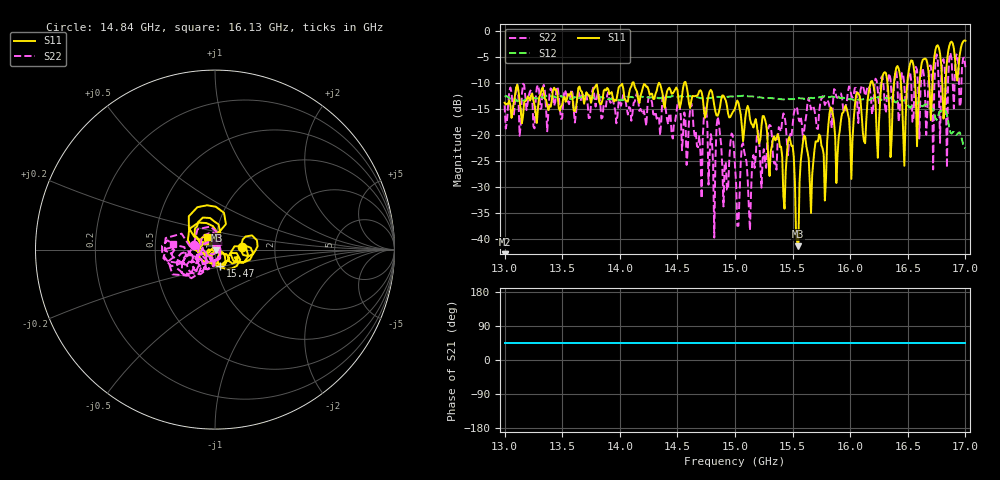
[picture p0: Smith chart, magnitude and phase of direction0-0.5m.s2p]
!Keysight Technologies,P9374A,MY57211810,A.19.30.04
!Date: Friday, May 02, 2025 09:38:07
!Correction: S11(Off)
!S21(Off)
!S12(Off)
!S22(Off)
!S2P File: Measurements: S11, S21, S12, S22:
# Hz S  dB  R 50
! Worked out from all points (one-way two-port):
!   401 points, 13 GHz to 17 GHz, reference 50 ohm
!   highest |S21| = - dB at 13 GHz (marker M1); lowest = - dB at 13 GHz (marker M2)
!   lowest |S11| = -41.3 dB at 15.55 GHz (marker M3), VSWR 1.02, Z = 50.8 - j0.374 ohm
!   |S11| at or under -10 dB: start of sweep to 14.11 GHz; 14.12 GHz to 14.56 GHz (438.6 MHz wide, 3.06 % of centre); 14.57 GHz to 16.18 GHz (1.606 GHz wide, 10.4 % of centre) (the widest 3 of 9)
!   |S22| runs from -39.7 to -4.3 dB; largest |S21 - S12| = 0.24
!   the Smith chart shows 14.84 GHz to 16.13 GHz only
!   S11 on the Smith chart (normalised r, x): 14.84 GHz: 1.36, +0.04; 15.47 GHz: 1.04, -0.19; 16.13 GHz: 0.91, +0.13
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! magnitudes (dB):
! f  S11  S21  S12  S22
! 13 GHz  -13.8  -  -12.7  -14.3
! 13.67 GHz  -11.7  -  -12.7  -12.5
! 14.34 GHz  -10.0  -  -13.0  -16.4
! 14.84 GHz  -16.3  -  -12.7  -18.3
! 15 GHz  -15.0  -  -12.6  -25.8
! 15.13 GHz  -17.0  -  -12.6  -38.3
! 15.43 GHz  -34.1  -  -13.2  -16.3
! 15.47 GHz  -20.4  -  -13.1  -20.9
! 15.55 GHz  -41.3  -  -13.0  -16.7
! 15.59 GHz  -21.4  -  -13.0  -21.0
! 15.67 GHz  -27.7  -  -12.9  -14.5
! 15.83 GHz  -14.7  -  -12.7  -16.6
! 16.13 GHz  -21.6  -  -13.1  -12.5
! 16.3 GHz  -8.0  -  -13.0  -14.2
! 16.34 GHz  -15.2  -  -13.1  -8.2
! 16.41 GHz  -6.8  -  -13.5  -9.9
! 16.47 GHz  -25.9  -  -13.3  -10.5
! 16.53 GHz  -5.7  -  -14.6  -9.7
! 16.58 GHz  -22.2  -  -14.0  -7.5
! 16.64 GHz  -5.5  -  -14.4  -8.7
! 16.81 GHz  -16.9  -  -15.4  -5.5
! 17 GHz  -2.0  -  -22.6  -7.0
